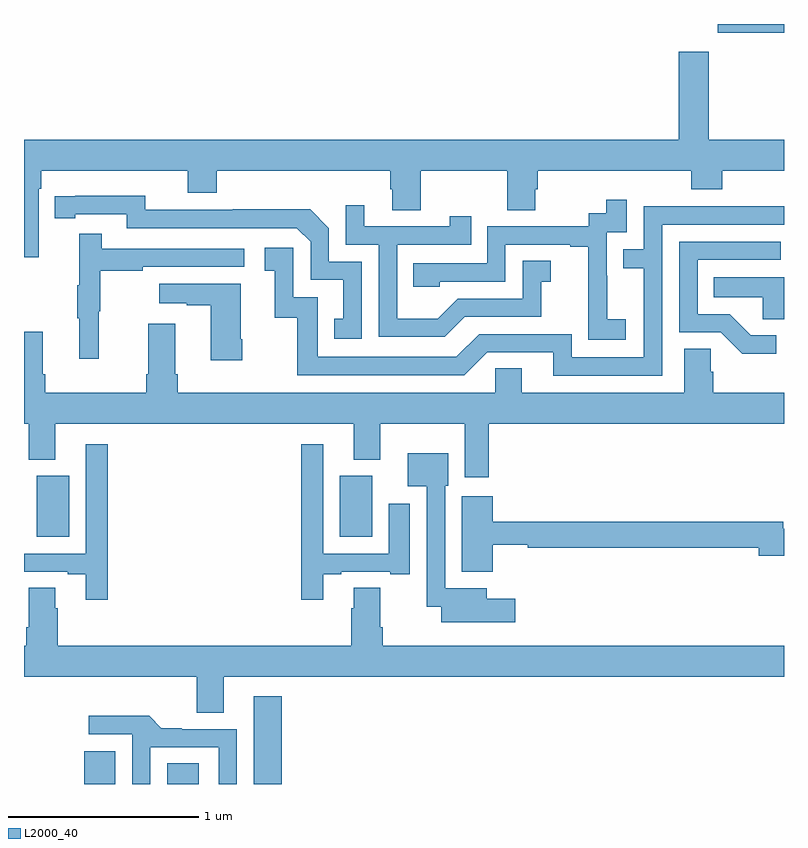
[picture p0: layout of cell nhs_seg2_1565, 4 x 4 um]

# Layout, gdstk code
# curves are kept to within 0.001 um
import gdstk
lib = gdstk.Library(unit=1e-6, precision=1e-09)
def R(c, l, rs):  # rectangles x0, y0, x1, y1
    for r in rs: c.add(gdstk.rectangle(r[:2], r[2:], *l))
def P(c, l, *ps):  # polygons
    for p in ps: c.add(gdstk.Polygon(p, *l))
L2000_40 = (2000, 40)

nhs_seg2_1565 = lib.new_cell('nhs_seg2_1565')
R(nhs_seg2_1565, L2000_40, [(193.316,585.8,193.48,585.973), (193.754,585.8,193.921,585.908), (194.21,585.8,194.357,586.261), (193.067,587.102,193.237,587.422), (194.663,587.102,194.833,587.422), (196.652,589.754,197,589.8)])
P(nhs_seg2_1565, L2000_40, [(193.077,588.932),(193.091,588.932),(193.091,589.028),(193.862,589.028),(193.862,588.911),(194.015,588.911),(194.015,589.028),(194.927,589.028),(194.927,588.93),(194.939,588.93),(194.939,588.82),(195.087,588.82),(195.087,589.028),(195.544,589.028),(195.544,588.82),(195.691,588.82),(195.691,588.93),(195.704,588.93),(195.704,589.028),(196.511,589.028),(196.511,588.929),(196.676,588.929),(196.676,589.028),(197,589.028),(197,589.192),(196.605,589.192),(196.605,589.654),(196.445,589.654),(196.445,589.192),(193,589.192),(193,588.573),(193.077,588.573)],
  [(194.778,588.549),(194.604,588.549),(194.604,588.726),(194.506,588.824),(194.098,588.824),(194.098,588.822),(193.638,588.822),(193.638,588.895),(193.162,588.894),(193.162,588.778),(193.27,588.778),(193.27,588.798),(193.542,588.798),(193.542,588.726),(194.436,588.726),(194.508,588.654),(194.508,588.453),(194.681,588.453),(194.681,588.249),(194.632,588.249),(194.632,588.144),(194.778,588.144)],
  [(196.168,588.247),(196.07,588.247),(196.07,588.476),(196.068,588.476),(196.068,588.705),(196.173,588.705),(196.173,588.874),(196.065,588.874),(196.065,588.804),(195.972,588.804),(195.972,588.735),(195.438,588.735),(195.438,588.54),(195.049,588.54),(195.049,588.417),(195.189,588.417),(195.189,588.444),(195.534,588.444),(195.534,588.639),(195.875,588.639),(195.875,588.627),(195.971,588.627),(195.971,588.343),(195.97,588.343),(195.97,588.137),(196.168,588.137)],
  [(195.319,588.258),(195.723,588.258),(195.723,588.443),(195.772,588.443),(195.772,588.553),(195.624,588.553),(195.624,588.354),(195.282,588.354),(195.178,588.25),(194.964,588.25),(194.964,588.639),(195.353,588.639),(195.353,588.787),(195.242,588.787),(195.242,588.735),(194.791,588.735),(194.791,588.847),(194.694,588.847),(194.694,588.639),(194.868,588.639),(194.868,588.153),(195.214,588.153)],
  [(196.359,588.744),(197,588.744),(197,588.842),(196.759,588.842),(196.759,588.84),(196.263,588.84),(196.263,588.615),(196.153,588.615),(196.153,588.514),(196.263,588.514),(196.263,588.045),(195.882,588.045),(195.882,588.168),(195.396,588.168),(195.276,588.048),(194.547,588.048),(194.547,588.363),(194.418,588.363),(194.418,588.622),(194.268,588.622),(194.268,588.501),(194.321,588.501),(194.321,588.255),(194.439,588.255),(194.439,587.952),(195.318,587.952),(195.438,588.072),(195.785,588.072),(195.785,587.949),(196.359,587.949)],
  [(193.394,588.288),(193.402,588.288),(193.402,588.502),(193.625,588.502),(193.625,588.522),(194.158,588.522),(194.158,588.618),(193.409,588.618),(193.409,588.697),(193.292,588.697),(193.292,588.425),(193.281,588.425),(193.281,588.251),(193.292,588.251),(193.292,588.039),(193.394,588.039)],
  [(196.96,588.162),(196.825,588.162),(196.714,588.273),(196.545,588.273),(196.545,588.558),(196.984,588.558),(196.984,588.654),(196.449,588.654),(196.449,588.177),(196.668,588.177),(196.781,588.065),(196.96,588.065)],
  [(197,588.466),(196.63,588.466),(196.63,588.362),(196.887,588.362),(196.887,588.247),(197,588.247)],
  [(194.148,588.142),(194.14,588.142),(194.14,588.433),(193.713,588.433),(193.713,588.329),(193.856,588.329),(193.856,588.319),(193.982,588.319),(193.982,588.03),(194.148,588.03)],
  [(195.446,587.696),(197,587.696),(197,587.86),(196.628,587.86),(196.628,587.969),(196.614,587.969),(196.614,588.092),(196.475,588.092),(196.475,587.86),(195.619,587.86),(195.619,587.987),(195.48,587.987),(195.48,587.86),(193.808,587.86),(193.808,587.956),(193.795,587.956),(193.795,588.223),(193.655,588.223),(193.655,587.956),(193.643,587.956),(193.643,587.86),(193.112,587.86),(193.112,587.956),(193.099,587.956),(193.099,588.181),(193,588.181),(193,587.696),(193.025,587.696),(193.025,587.507),(193.165,587.507),(193.165,587.696),(194.735,587.696),(194.735,587.507),(194.875,587.507),(194.875,587.696),(195.32,587.696),(195.32,587.415),(195.446,587.415)],
  [(194.575,586.905),(194.671,586.905),(194.671,586.917),(194.927,586.917),(194.927,586.905),(195.031,586.905),(195.031,587.275),(194.921,587.275),(194.921,587.013),(194.574,587.013),(194.574,587.587),(194.458,587.587),(194.458,586.77),(194.575,586.77)],
  [(193.442,587.587),(193.326,587.587),(193.326,587.013),(193,587.013),(193,586.917),(193.229,586.917),(193.229,586.905),(193.325,586.905),(193.325,586.77),(193.442,586.77)],
  [(195.586,586.774),(195.436,586.774),(195.436,586.83),(195.216,586.83),(195.216,587.37),(195.232,587.37),(195.232,587.542),(195.02,587.542),(195.02,587.366),(195.12,587.366),(195.12,586.733),(195.197,586.733),(195.197,586.652),(195.586,586.652)],
  [(195.467,587.059),(195.65,587.059),(195.65,587.044),(196.868,587.044),(196.868,587.002),(197,587.002),(197,587.144),(196.996,587.144),(196.996,587.18),(195.467,587.18),(195.467,587.314),(195.305,587.314),(195.305,586.916),(195.467,586.916)],
  [(194.05,586.364),(197,586.364),(197,586.528),(194.888,586.528),(194.888,586.624),(194.875,586.624),(194.875,586.832),(194.735,586.832),(194.735,586.724),(194.723,586.724),(194.723,586.528),(193.178,586.528),(193.178,586.724),(193.165,586.724),(193.165,586.832),(193.025,586.832),(193.025,586.624),(193.013,586.624),(193.013,586.528),(193,586.528),(193,586.364),(193.91,586.364),(193.91,586.174),(194.05,586.174)],
  [(193.665,585.993),(194.025,585.993),(194.025,585.8),(194.121,585.8),(194.121,586.089),(193.831,586.089),(193.831,586.094),(193.723,586.094),(193.658,586.16),(193.341,586.16),(193.341,586.062),(193.569,586.062),(193.569,585.8),(193.665,585.8)])

lib.write_gds('nhs_seg2_1565.gds')
